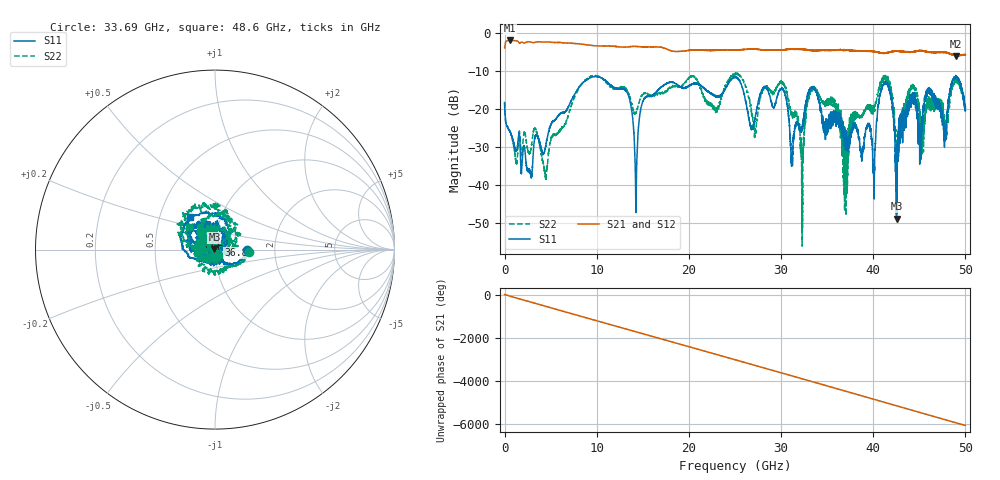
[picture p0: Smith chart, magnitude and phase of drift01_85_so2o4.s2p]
!Created with skrf (http://scikit-rf.org).
# Hz S RI R 50.0
!freq ReS11 ImS11 ReS21 ImS21 ReS12 ImS12 ReS22 ImS22
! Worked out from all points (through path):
!   10001 points, 300 kHz to 50 GHz, reference 50 ohm
!   highest |S21| = -2.00 dB at 570.3 MHz (marker M1); lowest = -6.1 dB at 48.98 GHz (marker M2)
!   group delay of S21, straight-line fit = 336 ps
!   lowest |S11| = -48.9 dB at 42.53 GHz (marker M3), VSWR 1.01, Z = 49.7 + j0.186 ohm
!   |S11| at or under -10 dB: start of sweep to end of sweep
!   |S22| runs from -56.1 to -10.6 dB; largest |S21 - S12| = 0.02
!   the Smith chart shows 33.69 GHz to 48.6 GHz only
!   S11 on the Smith chart (normalised r, x): 33.69 GHz: 1.44, -0.01; 36.81 GHz: 1.04, +0.06; 48.6 GHz: 0.71, +0.27
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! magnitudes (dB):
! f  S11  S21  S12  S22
! 300 kHz  -18.5  -4.0  -4.0  -18.1
! 570.3 MHz  -25.9  -2.0  -2.0  -26.0
! 4.445 GHz  -29.8  -2.4  -2.4  -37.7
! 8.335 GHz  -13.5  -2.9  -3.0  -13.5
! 13.17 GHz  -15.2  -3.7  -3.7  -14.6
! 14.25 GHz  -47.2  -3.6  -3.6  -21.0
! 16.67 GHz  -14.9  -3.7  -3.7  -15.9
! 25 GHz  -11.5  -4.5  -4.5  -10.9
! 27.18 GHz  -22.3  -4.3  -4.3  -25.9
! 30.22 GHz  -14.8  -4.5  -4.5  -13.4
! 31.16 GHz  -32.6  -4.3  -4.3  -21.1
! 32.28 GHz  -24.8  -4.3  -4.3  -53.7
! 33.34 GHz  -14.2  -4.6  -4.6  -15.0
! 33.69 GHz  -14.9  -4.7  -4.7  -14.5
! 36.81 GHz  -29.6  -4.6  -4.4  -29.2
! 40.04 GHz  -36.3  -4.9  -4.9  -19.9
! 41.67 GHz  -13.9  -5.1  -5.1  -13.0
! 42.53 GHz  -48.9  -4.9  -4.8  -33.7
! 44.14 GHz  -16.8  -5.0  -5.0  -14.4
! 48.6 GHz  -12.8  -5.7  -5.7  -14.4
! 48.98 GHz  -11.5  -6.1  -6.0  -12.4
! 50 GHz  -19.9  -5.8  -5.8  -19.3
